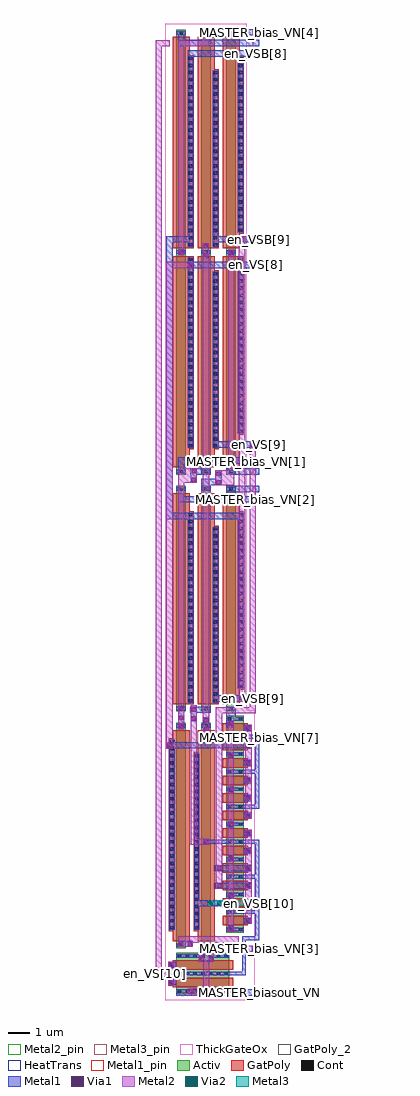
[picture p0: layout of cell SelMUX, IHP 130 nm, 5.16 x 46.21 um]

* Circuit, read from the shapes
.subckt SelMUX MASTER_bias_VN[0] MASTER_bias_VN[1] MASTER_bias_VN[2] MASTER_bias_VN[3] MASTER_bias_VN[4] MASTER_bias_VN[5] MASTER_bias_VN[6] MASTER_bias_VN[7] MASTER_biasout_VN en_VSB[10] en_VSB[8] en_VSB[9] en_VS[10] en_VS[8] en_VS[9]
XM1 n1 en_VS[10] MASTER_biasout_VN VSUBS sg13_hv_nmos w=2.5u l=0.45u m=2
XM2 n2 en_VS[8] MASTER_bias_VN[3] VSUBS sg13_hv_nmos w=0.45u l=10u
XM3 MASTER_bias_VN[2] en_VSB[8] n2 VSUBS sg13_hv_nmos w=0.45u l=10u
XM4 n3 en_VS[8] MASTER_bias_VN[1] VSUBS sg13_hv_nmos w=0.45u l=10u
XM5 MASTER_bias_VN[0] en_VSB[8] n3 VSUBS sg13_hv_nmos w=0.45u l=10u
XM6 n4 en_VSB[10] MASTER_biasout_VN VSUBS sg13_hv_nmos w=0.45u l=10u
XM7 n5 en_VSB[9] n1 VSUBS sg13_hv_nmos w=0.45u l=10u
XM8 n4 en_VS[9] n2 VSUBS sg13_hv_nmos w=0.45u l=10u
XM9 n3 en_VSB[9] n4 VSUBS sg13_hv_nmos w=0.45u l=10u
XM10 n1 en_VS[9] n6 VSUBS sg13_hv_nmos w=0.83u l=0.45u m=6
XM11 MASTER_bias_VN[7] en_VS[8] n6 VSUBS sg13_hv_nmos w=0.83u l=0.45u m=6
XM12 MASTER_bias_VN[6] en_VSB[8] n6 VSUBS sg13_hv_nmos w=0.45u l=10u
XM13 n5 en_VS[8] MASTER_bias_VN[5] VSUBS sg13_hv_nmos w=0.45u l=10u
XM14 MASTER_bias_VN[4] en_VSB[8] n5 VSUBS sg13_hv_nmos w=0.45u l=10u
.ends

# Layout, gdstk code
from math import pi, radians
import gdstk
lib = gdstk.Library(unit=1e-6, precision=1e-09)
def R(c, l, rs):  # rectangles x0, y0, x1, y1
    for r in rs: c.add(gdstk.rectangle(r[:2], r[2:], *l))
def A(c, l, x, y, w, h, nx, ny, dx, dy):  # array of equal rectangles
    R(c, l, [(x+i*dx, y+j*dy, x+i*dx+w, y+j*dy+h) for i in range(nx) for j in range(ny)])
def P(c, l, *ps):  # polygons
    for p in ps: c.add(gdstk.Polygon(p, *l))
Activ = (1, 0)
GatPoly = (5, 0)
GatPoly_2 = (5, 2)
Cont = (6, 0)
Metal1 = (8, 0)
Metal1_pin = (8, 2)
Metal2 = (10, 0)
Metal2_pin = (10, 2)
Via1 = (19, 0)
Via2 = (29, 0)
Metal3 = (30, 0)
Metal3_pin = (30, 2)
ThickGateOx = (44, 0)
HeatTrans = (51, 0)

nmoshv_5 = lib.new_cell('nmosHV$5')
R(nmoshv_5, Activ, [(0,0,0.3,0.3), (0,0,10.68,0.45), (10.38,0,10.68,0.3)])
R(nmoshv_5, GatPoly, [(0.34,-0.18,10.34,0.63)])
R(nmoshv_5, GatPoly_2, [(0.34,-0.18,10.34,0.63)])
R(nmoshv_5, Cont, [(0.07,0.145,0.23,0.305), (10.45,0.145,10.61,0.305)])
R(nmoshv_5, Metal1, [(0.07,0,0.23,0.45), (10.45,0,10.61,0.45)])
R(nmoshv_5, Metal1_pin, [(0.07,0,0.23,0.45), (10.45,0,10.61,0.45)])
R(nmoshv_5, ThickGateOx, [(-0.27,-0.52,10.95,0.97)])
R(nmoshv_5, HeatTrans, [(0.34,-0.18,10.34,0.63)])
nmoshv_5.add(gdstk.Label('nmosHV', (5.34,0.225), layer=63, texttype=0))
nmoshv_5.add(gdstk.Label('nmosHV', (5.34,0.225), layer=51, texttype=0))

nmoshv_6 = lib.new_cell('nmosHV$6')
A(nmoshv_6, Activ, 0, 0, 0.3, 0.3, 7, 1, 0.83, 0)
R(nmoshv_6, Activ, [(0,0,5.28,0.83)])
A(nmoshv_6, GatPoly, 0.34, -0.18, 0.45, 1.19, 6, 1, 0.83, 0)
R(nmoshv_6, GatPoly_2, [(0.34,-0.18,0.79,1.01)])
A(nmoshv_6, Cont, 0.07, 0.07, 0.16, 0.16, 7, 2, 0.83, 0.53)
A(nmoshv_6, Metal1, 0.07, 0, 0.16, 0.83, 7, 1, 0.83, 0)
R(nmoshv_6, Metal1_pin, [(0.07,0,0.23,0.83), (0.9,0,1.06,0.83)])
R(nmoshv_6, ThickGateOx, [(-0.27,-0.52,5.55,1.35)])
A(nmoshv_6, HeatTrans, 0.34, -0.18, 0.45, 1.19, 6, 1, 0.83, 0)
nmoshv_6.add(gdstk.Label('nmosHV', (0.565,0.415), layer=63, texttype=0))
nmoshv_6.add(gdstk.Label('nmosHV', (0.565,0.415), layer=51, texttype=0))
nmoshv_6.add(gdstk.Label('nmosHV', (1.395,0.415), layer=51, texttype=0))
nmoshv_6.add(gdstk.Label('nmosHV', (2.225,0.415), layer=51, texttype=0))
nmoshv_6.add(gdstk.Label('nmosHV', (3.055,0.415), layer=51, texttype=0))
nmoshv_6.add(gdstk.Label('nmosHV', (3.885,0.415), layer=51, texttype=0))
nmoshv_6.add(gdstk.Label('nmosHV', (4.715,0.415), layer=51, texttype=0))

viagpcont_m1 = lib.new_cell('ViaGPCont_M1')
R(viagpcont_m1, GatPoly, [(-0.15,-0.15,0.15,0.15), (-0.15,-0.15,0.15,0.15)])
R(viagpcont_m1, Cont, [(-0.08,-0.08,0.08,0.08)])
R(viagpcont_m1, Metal1, [(-0.13,-0.08,0.13,0.08)])

via_stack_2_3 = lib.new_cell('via_stack$2$3')
R(via_stack_2_3, Metal1, [(-0.145,-0.145,0.145,0.145)])
R(via_stack_2_3, Metal2, [(-0.145,-0.145,0.145,0.145)])
R(via_stack_2_3, Via1, [(-0.095,-0.095,0.095,0.095)])

nmoshv_7 = lib.new_cell('nmosHV$7')
A(nmoshv_7, Activ, 0, 0, 0.3, 0.3, 3, 1, 0.83, 0)
R(nmoshv_7, Activ, [(0,0,1.96,2.5)])
R(nmoshv_7, GatPoly, [(0.34,-0.18,0.79,2.68), (1.17,-0.18,1.62,2.68)])
R(nmoshv_7, GatPoly_2, [(0.34,-0.18,0.79,2.68)])
A(nmoshv_7, Cont, 0.07, 0.07, 0.16, 0.16, 3, 3, 0.83, 0.365)
A(nmoshv_7, Cont, 0.07, 1.17, 0.16, 0.16, 3, 3, 0.83, 0.365)
A(nmoshv_7, Cont, 0.07, 2.27, 0.16, 0.16, 3, 1, 0.83, 0)
A(nmoshv_7, Metal1, 0.07, 0, 0.16, 2.5, 3, 1, 0.83, 0)
R(nmoshv_7, Metal1_pin, [(0.07,0,0.23,2.5), (0.9,0,1.06,2.5)])
R(nmoshv_7, ThickGateOx, [(-0.27,-0.52,2.23,3.02)])
R(nmoshv_7, HeatTrans, [(0.34,-0.18,0.79,2.68), (1.17,-0.18,1.62,2.68)])
nmoshv_7.add(gdstk.Label('nmosHV', (0.565,1.25), layer=63, texttype=0))
nmoshv_7.add(gdstk.Label('nmosHV', (0.565,1.25), layer=51, texttype=0))
nmoshv_7.add(gdstk.Label('nmosHV', (1.395,1.25), layer=51, texttype=0))

viagpcont_m1_10 = lib.new_cell('ViaGPCont_M1$10')
R(viagpcont_m1_10, GatPoly, [(-0.15,-4.57,0.15,4.57), (-0.15,-4.57,0.15,4.57)])
A(viagpcont_m1_10, Cont, -0.08, -4.5, 0.16, 0.16, 1, 27, 0, 0.34)
R(viagpcont_m1_10, Metal1, [(-0.13,-4.5,0.13,4.5)])

viagpcont_m1_11 = lib.new_cell('ViaGPCont_M1$11')
R(viagpcont_m1_11, GatPoly, [(-0.15,-4.23,0.15,4.23), (-0.15,-4.23,0.15,4.23)])
A(viagpcont_m1_11, Cont, -0.08, -4.16, 0.16, 0.16, 1, 25, 0, 0.34)
R(viagpcont_m1_11, Metal1, [(-0.13,-4.16,0.13,4.16)])

via_stack_4_1 = lib.new_cell('via_stack$4$1')
R(via_stack_4_1, Metal1, [(-0.35,-0.145,0.35,0.145)])
R(via_stack_4_1, Metal2, [(-0.35,-0.145,0.35,0.145)])
R(via_stack_4_1, Via1, [(-0.3,-0.095,-0.11,0.095), (0.11,-0.095,0.3,0.095)])

via_stack_3_1 = lib.new_cell('via_stack$3$1')
R(via_stack_3_1, Metal1, [(-0.145,-0.35,0.145,0.35)])
R(via_stack_3_1, Metal2, [(-0.145,-0.35,0.145,0.35)])
R(via_stack_3_1, Via1, [(-0.095,-0.3,0.095,-0.11), (-0.095,0.11,0.095,0.3)])

via_stack_12 = lib.new_cell('via_stack$12')
R(via_stack_12, Metal1, [(-0.145,-0.555,0.145,0.555)])
R(via_stack_12, Metal2, [(-0.145,-0.555,0.145,0.555)])
A(via_stack_12, Via1, -0.095, -0.505, 0.19, 0.19, 1, 3, 0, 0.41)

via_stack_13_3 = lib.new_cell('via_stack$13$3')
R(via_stack_13_3, Metal1, [(-0.35,-0.35,0.35,0.35)])
R(via_stack_13_3, Metal2, [(-0.35,-0.35,0.35,0.35)])
R(via_stack_13_3, Via1, [(-0.3,-0.3,-0.11,-0.11), (0.11,-0.3,0.3,-0.11), (-0.3,0.11,-0.11,0.3), (0.11,0.11,0.3,0.3)])

via_stack_7_1 = lib.new_cell('via_stack$7$1')
R(via_stack_7_1, Metal1, [(-0.865,-0.145,0.865,0.145)])
R(via_stack_7_1, Metal2, [(-0.865,-0.145,0.865,0.145)])
A(via_stack_7_1, Via1, -0.815, -0.095, 0.19, 0.19, 4, 1, 0.48, 0)

via_stack_14_3 = lib.new_cell('via_stack$14$3')
R(via_stack_14_3, Metal1, [(-0.35,-0.145,0.35,0.145)])
R(via_stack_14_3, Metal2, [(-0.35,-0.145,0.35,0.145)])
R(via_stack_14_3, Via1, [(-0.3,-0.095,-0.11,0.095), (0.11,-0.095,0.3,0.095)])
R(via_stack_14_3, Via2, [(-0.3,-0.095,-0.11,0.095), (0.11,-0.095,0.3,0.095)])
R(via_stack_14_3, Metal3, [(-0.35,-0.145,0.35,0.145)])

selmux = lib.new_cell('SelMUX')
A(selmux, Metal1, 3.93, -31.61, 0.075, 0.29, 1, 12, 0, 0.83)
R(selmux, Metal1, [(0.35,-34.53,0.74,-34.24), (0.6,-33.7,0.74,-33.41), (1.92,-33.06,2.37,-32.71), (3.1,-22.3,3.46,-22), (3.1,-21.84,3.55,-21.49), (1.92,-10.95,2.37,-10.55)])
R(selmux, Metal2, [(2.29,-11.11,2.295,-10.85), (2.58,-10.85,3.48,-10.15), (0.815,-10.74,1.71,-10.04)])
P(selmux, Metal2, [(0.815,-21.49),(0.815,-10.04),(1.71,-10.04),(1.71,-10.34),(1.115,-10.34),(1.115,-21.49)],
  [(2.58,-10.85),(2.58,-10.55),(3.18,-10.55),(3.18,0.27),(3.48,0.27),(3.48,-10.85)])
R(selmux, ThickGateOx, [(0.22,-35.22,4.45,-21.5)])
selmux.add(gdstk.FlexPath([(1.28,9.6),(4.52,9.6)], 0.3, ends="flush", simple_path=True, layer=8, datatype=0))  # Metal1
selmux.add(gdstk.FlexPath([(0.965,-10.27),(0.965,-9.68),(4.07,-9.68)], 0.3, ends="flush", simple_path=True, layer=8, datatype=0))  # Metal1
selmux.add(gdstk.FlexPath([(1.28,-12.3),(3.9,-12.3)], 0.3, ends="flush", simple_path=True, layer=8, datatype=0))  # Metal1
selmux.add(gdstk.FlexPath([(0.965,-10.95),(0.965,-11.51),(4.5,-11.51)], 0.3, ends="flush", simple_path=True, layer=8, datatype=0))  # Metal1
selmux.add(gdstk.FlexPath([(4.37,-20.94),(2.46,-20.94)], 0.3, ends="flush", simple_path=True, layer=8, datatype=0))  # Metal1
selmux.add(gdstk.FlexPath([(3.1,10.6),(4.655,10.6)], 0.3, ends="flush", simple_path=True, layer=8, datatype=0))  # Metal1
selmux.add(gdstk.FlexPath([(1.28,-0.42),(4.52,-0.42)], 0.3, ends="flush", simple_path=True, layer=8, datatype=0))  # Metal1
selmux.add(gdstk.FlexPath([(1.71,-30.64),(2.92,-30.64)], 0.3, ends="flush", simple_path=True, layer=8, datatype=0))  # Metal1
selmux.add(gdstk.FlexPath([(2.37,-21.48),(1.4,-21.48),(1.4,-21.48)], 0.3, ends="flush", simple_path=True, layer=8, datatype=0))  # Metal1
selmux.add(gdstk.FlexPath([(3.1,-22.75),(4.565,-22.75),(4.565,-26.07),(3.1,-26.07)], 0.18, ends="flush", simple_path=True, layer=8, datatype=0))  # Metal1
selmux.add(gdstk.FlexPath([(3.1,-24.41),(4.475,-24.41)], 0.18, ends="flush", simple_path=True, layer=8, datatype=0))  # Metal1
selmux.add(gdstk.FlexPath([(2.51,-27.73),(2.3,-27.73)], 0.18, ends="flush", simple_path=True, layer=8, datatype=0))  # Metal1
selmux.add(gdstk.FlexPath([(3.1,-27.73),(4.565,-27.73),(4.565,-31.05),(3.1,-31.05)], 0.18, ends="flush", simple_path=True, layer=8, datatype=0))  # Metal1
selmux.add(gdstk.FlexPath([(3.1,-29.39),(4.475,-29.39)], 0.18, ends="flush", simple_path=True, layer=8, datatype=0))  # Metal1
selmux.add(gdstk.FlexPath([(4.565,-31.05),(4.565,-32.3),(3.94,-32.3),(3.94,-33.97),(0.74,-33.97),(0.74,-33.97)], 0.18, ends="flush", simple_path=True, layer=8, datatype=0))  # Metal1
selmux.add(gdstk.FlexPath([(2.15,-34.86),(4.655,-34.86)], 0.3, ends="flush", simple_path=True, layer=8, datatype=0))  # Metal1
selmux.add(gdstk.FlexPath([(2.15,-34.86),(0.74,-34.86)], 0.3, ends="flush", simple_path=True, layer=8, datatype=0))  # Metal1
selmux.add(gdstk.FlexPath([(3.1,-11.03),(4.655,-11.03)], 0.3, ends="flush", simple_path=True, layer=8, datatype=0))  # Metal1
selmux.add(gdstk.FlexPath([(3.1,-10.19),(4.655,-10.19)], 0.3, ends="flush", simple_path=True, layer=8, datatype=0))  # Metal1
selmux.add(gdstk.FlexPath([(4.3,-32.79),(4.655,-32.79)], 0.3, ends="flush", simple_path=True, layer=8, datatype=0))  # Metal1
selmux.add(gdstk.FlexPath([(0.965,10.65),(0.965,10.09),(4.655,10.09)], 0.3, ends="flush", simple_path=True, layer=8, datatype=0))  # Metal1
selmux.add(gdstk.FlexPath([(1.28,-12.3),(0.41,-12.3),(0.41,0.8),(1.54,0.8)], 0.3, ends="flush", simple_path=True, layer=8, datatype=0))  # Metal1
selmux.add(gdstk.FlexPath([(2.46,0.8),(4.655,0.8),(4.655,0.8)], 0.3, ends="flush", simple_path=True, layer=8, datatype=0))  # Metal1
selmux.add(gdstk.FlexPath([(2.46,-8.92),(4.655,-8.92),(4.655,-8.92)], 0.3, ends="flush", simple_path=True, layer=8, datatype=0))  # Metal1
selmux.add(gdstk.FlexPath([(4.295,-23.165),(0.39,-23.165)], 0.29, ends="flush", simple_path=True, layer=8, datatype=0))  # Metal1
selmux.add(gdstk.FlexPath([(3.1,-27.73),(2.51,-27.73)], 0.18, ends="flush", simple_path=True, layer=8, datatype=0))  # Metal1
selmux.add(gdstk.FlexPath([(4.295,-28.975),(2.55,-28.975)], 0.29, ends="flush", simple_path=True, layer=8, datatype=0))  # Metal1
selmux.add(gdstk.FlexPath([(4.295,-29.805),(2.55,-29.805)], 0.29, ends="flush", simple_path=True, layer=8, datatype=0))  # Metal1
selmux.add(gdstk.FlexPath([(2.37,-10.19),(1.4,-10.19)], 0.3, ends="flush", simple_path=True, layer=8, datatype=0))  # Metal1
selmux.add(gdstk.FlexPath([(2.145,-11.11),(2.145,-10.7),(2.89,-10.7)], 0.3, ends="flush", simple_path=True, layer=8, datatype=0))  # Metal1
selmux.add(gdstk.FlexPath([(4.52,9.6),(4.235,9.6)], 0.3, ends="flush", simple_path=True, layer=8, datatype=2))  # Metal1_pin
selmux.add(gdstk.FlexPath([(3.775,-9.68),(4.07,-9.68)], 0.3, ends="flush", simple_path=True, layer=8, datatype=2))  # Metal1_pin
selmux.add(gdstk.FlexPath([(4.5,-11.51),(4.205,-11.51)], 0.3, ends="flush", simple_path=True, layer=8, datatype=2))  # Metal1_pin
selmux.add(gdstk.FlexPath([(4.37,-20.94),(4.085,-20.94)], 0.3, ends="flush", simple_path=True, layer=8, datatype=2))  # Metal1_pin
selmux.add(gdstk.FlexPath([(4.655,10.6),(4.36,10.6)], 0.3, ends="flush", simple_path=True, layer=8, datatype=2))  # Metal1_pin
selmux.add(gdstk.FlexPath([(4.52,-0.42),(4.235,-0.42)], 0.3, ends="flush", simple_path=True, layer=8, datatype=2))  # Metal1_pin
selmux.add(gdstk.FlexPath([(4.655,-34.86),(4.37,-34.86)], 0.3, ends="flush", simple_path=True, layer=8, datatype=2))  # Metal1_pin
selmux.add(gdstk.FlexPath([(4.655,-22.81),(4.475,-22.81),(4.475,-22.81)], 0.3, ends="flush", simple_path=True, layer=8, datatype=2))  # Metal1_pin
selmux.add(gdstk.FlexPath([(4.655,-11.03),(4.36,-11.03)], 0.3, ends="flush", simple_path=True, layer=8, datatype=2))  # Metal1_pin
selmux.add(gdstk.FlexPath([(4.655,-10.19),(4.36,-10.19)], 0.3, ends="flush", simple_path=True, layer=8, datatype=2))  # Metal1_pin
selmux.add(gdstk.FlexPath([(4.655,10.09),(4.36,10.09)], 0.3, ends="flush", simple_path=True, layer=8, datatype=2))  # Metal1_pin
selmux.add(gdstk.FlexPath([(4.655,-32.79),(4.36,-32.79)], 0.3, ends="flush", simple_path=True, layer=8, datatype=2))  # Metal1_pin
selmux.add(gdstk.FlexPath([(4.655,0.8),(4.37,0.8)], 0.3, ends="flush", simple_path=True, layer=8, datatype=2))  # Metal1_pin
selmux.add(gdstk.FlexPath([(4.655,-8.92),(4.37,-8.92)], 0.3, ends="flush", simple_path=True, layer=8, datatype=2))  # Metal1_pin
selmux.add(gdstk.FlexPath([(0.5,-33.97),(-0.1,-33.97),(-0.1,10.08),(0.41,10.08)], 0.3, ends="flush", simple_path=True, layer=10, datatype=0))  # Metal2
selmux.add(gdstk.FlexPath([(0.495,-33.41),(0.495,-34.53)], 0.3, ends="flush", simple_path=True, layer=10, datatype=0))  # Metal2
selmux.add(gdstk.FlexPath([(1.56,-21.26),(1.56,-27.73)], 0.3, ends="flush", simple_path=True, layer=10, datatype=0))  # Metal2
selmux.add(gdstk.FlexPath([(1.56,-27.73),(1.56,-27.88),(1.56,-27.88)], 0.3, ends="flush", simple_path=True, layer=10, datatype=0))  # Metal2
selmux.add(gdstk.FlexPath([(3.31,-22),(3.31,-31.96)], 0.3, ends="flush", simple_path=True, layer=10, datatype=0))  # Metal2
selmux.add(gdstk.FlexPath([(2.15,-32.71),(2.15,-34.88)], 0.3, ends="flush", simple_path=True, layer=10, datatype=0))  # Metal2
selmux.add(gdstk.FlexPath([(0.965,-32.71),(0.965,-32.35),(3.545,-32.35),(3.545,-32.79),(4.655,-32.79)], 0.3, ends="flush", simple_path=True, layer=10, datatype=0))  # Metal2
selmux.add(gdstk.FlexPath([(4.15,-31.615),(4.15,-27.165)], 0.3, ends="flush", simple_path=True, layer=10, datatype=0))  # Metal2
selmux.add(gdstk.FlexPath([(4.15,-26.635),(4.15,-22.185)], 0.3, ends="flush", simple_path=True, layer=10, datatype=0))  # Metal2
selmux.add(gdstk.FlexPath([(3.84,-21.09),(3.84,0.75)], 0.3, ends="flush", simple_path=True, layer=10, datatype=0))  # Metal2
selmux.add(gdstk.FlexPath([(1.41,-27.73),(2.3,-27.73)], 0.3, ends="flush", simple_path=True, layer=10, datatype=0))  # Metal2
selmux.add(gdstk.FlexPath([(0.41,-12.3),(0.41,-23.315)], 0.3, ends="flush", simple_path=True, layer=10, datatype=0))  # Metal2
selmux.add(gdstk.FlexPath([(0.41,-12.3),(0.41,-0.42),(1.54,-0.42)], 0.3, ends="flush", simple_path=True, layer=10, datatype=0))  # Metal2
selmux.add(gdstk.FlexPath([(2.76,-29.95),(2.76,-21.5),(4.5,-21.5)], 0.3, ends="flush", simple_path=True, layer=10, datatype=0))  # Metal2
selmux.add(gdstk.FlexPath([(4.35,-21.65),(4.35,-8.77)], 0.3, ends="flush", simple_path=True, layer=10, datatype=0))  # Metal2
selmux.add(gdstk.FlexPath([(2.145,-22.33),(2.145,0.27)], 0.3, ends="flush", simple_path=True, layer=10, datatype=0))  # Metal2
selmux.add(gdstk.FlexPath([(0.965,-22.33),(0.965,-21.49)], 0.3, ends="flush", simple_path=True, layer=10, datatype=0))  # Metal2
selmux.add(gdstk.FlexPath([(0.965,0.11),(0.965,10.08),(2.145,10.08),(2.145,10.65)], 0.3, ends="flush", simple_path=True, layer=10, datatype=0))  # Metal2
selmux.add(gdstk.FlexPath([(2.215,-30.64),(4.655,-30.64)], 0.3, ends="flush", simple_path=True, layer=30, datatype=0))  # Metal3
selmux.add(gdstk.FlexPath([(4.655,-30.64),(4.39,-30.64)], 0.3, ends="flush", simple_path=True, layer=30, datatype=2))  # Metal3_pin
selmux.add(gdstk.FlexPath([(-0.25,-33.97),(0.035,-33.97)], 0.3, ends="flush", simple_path=True, layer=10, datatype=2))  # Metal2_pin
r = gdstk.Reference(nmoshv_5, (3.55,-10.34), rotation=pi/2); r.repetition = gdstk.Repetition(2, 3, v1=(0,10.38), v2=(-1.18,0)); selmux.add(r)
r = gdstk.Reference(nmoshv_5, (2.37,-32.78), rotation=pi/2); r.repetition = gdstk.Repetition(1, 2, v1=(0,0), v2=(-1.18,0)); selmux.add(r)
r = gdstk.Reference(nmoshv_6, (3.93,-32.03), rotation=pi/2); r.repetition = gdstk.Repetition(1, 1, v1=(0,0), v2=(0,0)); selmux.add(r)
r = gdstk.Reference(viagpcont_m1, (4.15,-31.465), rotation=pi/2); r.repetition = gdstk.Repetition(12, 1, v1=(0,0.83), v2=(0,0)); selmux.add(r)
r = gdstk.Reference(via_stack_2_3, (4.15,-31.465), rotation=pi/2); r.repetition = gdstk.Repetition(12, 1, v1=(0,0.83), v2=(0,0)); selmux.add(r)
r = gdstk.Reference(nmoshv_7, (3.24,-34.95), rotation=pi/2); r.repetition = gdstk.Repetition(1, 1, v1=(0,0), v2=(0,0)); selmux.add(r)
r = gdstk.Reference(via_stack_2_3, (0.495,-34.385), rotation=pi/2); r.repetition = gdstk.Repetition(2, 1, v1=(0,0.83), v2=(0,0)); selmux.add(r)
r = gdstk.Reference(viagpcont_m1, (0.495,-34.385), rotation=pi/2); r.repetition = gdstk.Repetition(2, 1, v1=(0,0.83), v2=(0,0)); selmux.add(r)
r = gdstk.Reference(nmoshv_5, (3.55,-21.56), rotation=pi/2); r.repetition = gdstk.Repetition(1, 3, v1=(0,0), v2=(-1.18,0)); selmux.add(r)
r = gdstk.Reference(viagpcont_m1_10, (1.41,-16.65)); r.repetition = gdstk.Repetition(1, 1, v1=(0,0), v2=(0,0)); selmux.add(r)
r = gdstk.Reference(viagpcont_m1_11, (2.59,-16.99)); r.repetition = gdstk.Repetition(1, 1, v1=(0,0), v2=(0,0)); selmux.add(r)
r = gdstk.Reference(viagpcont_m1_11, (3.77,-16.31)); r.repetition = gdstk.Repetition(1, 1, v1=(0,0), v2=(0,0)); selmux.add(r)
r = gdstk.Reference(viagpcont_m1_11, (3.77,5.29)); r.repetition = gdstk.Repetition(1, 1, v1=(0,0), v2=(0,0)); selmux.add(r)
r = gdstk.Reference(viagpcont_m1_11, (2.59,4.61)); r.repetition = gdstk.Repetition(1, 1, v1=(0,0), v2=(0,0)); selmux.add(r)
r = gdstk.Reference(viagpcont_m1_10, (1.41,4.95)); r.repetition = gdstk.Repetition(1, 1, v1=(0,0), v2=(0,0)); selmux.add(r)
r = gdstk.Reference(viagpcont_m1_11, (3.77,-4.23)); r.repetition = gdstk.Repetition(1, 1, v1=(0,0), v2=(0,0)); selmux.add(r)
r = gdstk.Reference(viagpcont_m1_11, (2.59,-4.91)); r.repetition = gdstk.Repetition(1, 1, v1=(0,0), v2=(0,0)); selmux.add(r)
r = gdstk.Reference(viagpcont_m1_10, (1.41,-4.57)); r.repetition = gdstk.Repetition(1, 1, v1=(0,0), v2=(0,0)); selmux.add(r)
r = gdstk.Reference(viagpcont_m1_10, (0.52,-27.39)); r.repetition = gdstk.Repetition(1, 1, v1=(0,0), v2=(0,0)); selmux.add(r)
r = gdstk.Reference(viagpcont_m1_11, (1.7,-27.73)); r.repetition = gdstk.Repetition(1, 1, v1=(0,0), v2=(0,0)); selmux.add(r)
r = gdstk.Reference(nmoshv_6, (3.93,-27.05), rotation=pi/2); r.repetition = gdstk.Repetition(1, 1, v1=(0,0), v2=(0,0)); selmux.add(r)
r = gdstk.Reference(via_stack_2_3, (3.31,-22.15)); r.repetition = gdstk.Repetition(1, 1, v1=(0,0), v2=(0,0)); selmux.add(r)
r = gdstk.Reference(via_stack_2_3, (2.76,-29.805)); r.repetition = gdstk.Repetition(1, 1, v1=(0,0), v2=(0,0)); selmux.add(r)
r = gdstk.Reference(via_stack_2_3, (2.76,-28.975)); r.repetition = gdstk.Repetition(1, 1, v1=(0,0), v2=(0,0)); selmux.add(r)
r = gdstk.Reference(via_stack_4_1, (4.555,-8.92)); r.repetition = gdstk.Repetition(1, 1, v1=(0,0), v2=(0,0)); selmux.add(r)
r = gdstk.Reference(via_stack_2_3, (3.84,0.8)); r.repetition = gdstk.Repetition(1, 1, v1=(0,0), v2=(0,0)); selmux.add(r)
r = gdstk.Reference(via_stack_2_3, (2.145,10.575)); r.repetition = gdstk.Repetition(1, 1, v1=(0,0), v2=(0,0)); selmux.add(r)
r = gdstk.Reference(via_stack_2_3, (0.965,0.19)); r.repetition = gdstk.Repetition(1, 1, v1=(0,0), v2=(0,0)); selmux.add(r)
r = gdstk.Reference(via_stack_3_1, (2.135,0.26)); r.repetition = gdstk.Repetition(1, 1, v1=(0,0), v2=(0,0)); selmux.add(r)
r = gdstk.Reference(via_stack_2_3, (3.84,-20.94)); r.repetition = gdstk.Repetition(1, 1, v1=(0,0), v2=(0,0)); selmux.add(r)
r = gdstk.Reference(via_stack_3_1, (1.56,-21.68)); r.repetition = gdstk.Repetition(1, 1, v1=(0,0), v2=(0,0)); selmux.add(r)
r = gdstk.Reference(via_stack_12, (0.965,-21.845)); r.repetition = gdstk.Repetition(1, 1, v1=(0,0), v2=(0,0)); selmux.add(r)
r = gdstk.Reference(via_stack_3_1, (2.145,-22.18)); r.repetition = gdstk.Repetition(1, 1, v1=(0,0), v2=(0,0)); selmux.add(r)
r = gdstk.Reference(via_stack_2_3, (2.155,-27.73)); r.repetition = gdstk.Repetition(1, 1, v1=(0,0), v2=(0,0)); selmux.add(r)
r = gdstk.Reference(via_stack_4_1, (1.165,-32.565)); r.repetition = gdstk.Repetition(1, 1, v1=(0,0), v2=(0,0)); selmux.add(r)
r = gdstk.Reference(via_stack_13_3, (2.15,-33.06)); r.repetition = gdstk.Repetition(1, 1, v1=(0,0), v2=(0,0)); selmux.add(r)
r = gdstk.Reference(via_stack_7_1, (2.15,-34.805)); r.repetition = gdstk.Repetition(1, 1, v1=(0,0), v2=(0,0)); selmux.add(r)
r = gdstk.Reference(via_stack_2_3, (0.41,-23.165)); r.repetition = gdstk.Repetition(1, 1, v1=(0,0), v2=(0,0)); selmux.add(r)
r = gdstk.Reference(via_stack_2_3, (1.39,-0.42)); r.repetition = gdstk.Repetition(1, 1, v1=(0,0), v2=(0,0)); selmux.add(r)
r = gdstk.Reference(via_stack_2_3, (3.315,-23.64)); r.repetition = gdstk.Repetition(1, 1, v1=(0,0), v2=(0,0)); selmux.add(r)
r = gdstk.Reference(via_stack_2_3, (3.31,-25.24)); r.repetition = gdstk.Repetition(1, 1, v1=(0,0), v2=(0,0)); selmux.add(r)
r = gdstk.Reference(via_stack_2_3, (3.31,-26.9)); r.repetition = gdstk.Repetition(1, 1, v1=(0,0), v2=(0,0)); selmux.add(r)
r = gdstk.Reference(via_stack_2_3, (3.31,-28.5)); r.repetition = gdstk.Repetition(1, 1, v1=(0,0), v2=(0,0)); selmux.add(r)
r = gdstk.Reference(via_stack_2_3, (3.31,-30.28)); r.repetition = gdstk.Repetition(1, 1, v1=(0,0), v2=(0,0)); selmux.add(r)
r = gdstk.Reference(via_stack_2_3, (3.31,-31.835)); r.repetition = gdstk.Repetition(1, 1, v1=(0,0), v2=(0,0)); selmux.add(r)
r = gdstk.Reference(via_stack_3_1, (2.73,-10.5)); r.repetition = gdstk.Repetition(1, 1, v1=(0,0), v2=(0,0)); selmux.add(r)
r = gdstk.Reference(via_stack_14_3, (2.57,-30.64)); r.repetition = gdstk.Repetition(1, 1, v1=(0,0), v2=(0,0)); selmux.add(r)
r = gdstk.Reference(via_stack_2_3, (4.45,-32.79)); r.repetition = gdstk.Repetition(1, 1, v1=(0,0), v2=(0,0)); selmux.add(r)
r = gdstk.Reference(via_stack_3_1, (1.56,-10.39)); r.repetition = gdstk.Repetition(1, 1, v1=(0,0), v2=(0,0)); selmux.add(r)
r = gdstk.Reference(via_stack_2_3, (3.33,0.19)); r.repetition = gdstk.Repetition(1, 1, v1=(0,0), v2=(0,0)); selmux.add(r)
selmux.add(gdstk.Label('en_VSB[9]', (4.37,-20.94), layer=8, texttype=25))
selmux.add(gdstk.Label('en_VS[9]', (4.655,-8.92), layer=8, texttype=25))
selmux.add(gdstk.Label('en_VS[8]', (4.52,-0.42), layer=8, texttype=25))
selmux.add(gdstk.Label('en_VSB[9]', (4.655,0.8), layer=8, texttype=25))
selmux.add(gdstk.Label('en_VSB[8]', (4.52,9.6), layer=8, texttype=25))
selmux.add(gdstk.Label('MASTER_bias_VN[1]', (4.07,-9.71), layer=8, texttype=25))
selmux.add(gdstk.Label('MASTER_bias_VN[2]', (4.5,-11.51), layer=8, texttype=25))
selmux.add(gdstk.Label('MASTER_bias_VN[4]', (4.655,10.6), layer=8, texttype=25))
selmux.add(gdstk.Label('MASTER_biasout_VN', (4.655,-34.86), layer=8, texttype=25))
selmux.add(gdstk.Label('MASTER_bias_VN[7]', (4.655,-22.81), layer=8, texttype=25))
selmux.add(gdstk.Label('MASTER_bias_VN[6]', (4.655,-11.03), layer=8, texttype=25))
selmux.add(gdstk.Label('MASTER_bias_VN[5]', (4.655,-10.19), layer=8, texttype=25))
selmux.add(gdstk.Label('MASTER_bias_VN[0]', (4.655,10.09), layer=8, texttype=25))
selmux.add(gdstk.Label('MASTER_bias_VN[3]', (4.655,-32.79), layer=8, texttype=25))
selmux.add(gdstk.Label('en_VSB[10]', (4.655,-30.64), layer=30, texttype=25))
selmux.add(gdstk.Label('en_VS[10]', (-0.25,-33.97), layer=10, texttype=25))

lib.write_gds('SelMUX.gds')
